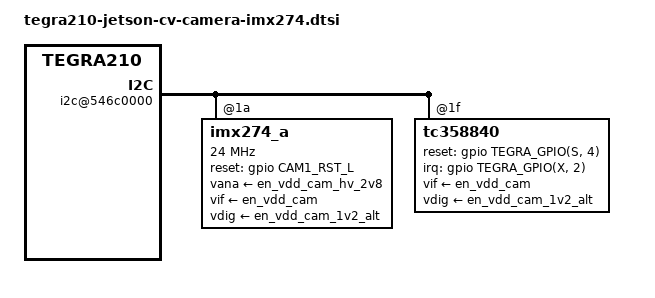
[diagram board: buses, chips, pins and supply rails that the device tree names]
/*
 * Copyright (c) 2015-2016, NVIDIA CORPORATION.  All rights reserved.
 *
 * This program is free software; you can redistribute it and/or modify
 * it under the terms of the GNU General Public License as published by
 * the Free Software Foundation; either version 2 of the License, or
 * (at your option) any later version.
 *
 * This program is distributed in the hope that it will be useful, but WITHOUT
 * ANY WARRANTY; without even the implied warranty of MERCHANTABILITY or
 * FITNESS FOR A PARTICULAR PURPOSE.  See the GNU General Public License for
 * more details.
 *
 * You should have received a copy of the GNU General Public License
 * along with this program.  If not, see <http://www.gnu.org/licenses/>.
 */

#include <tegra210-platforms/tegra210-camera-imx274.dtsi>

#define CAM1_RST_L	TEGRA_GPIO(S, 5)

/* camera control gpio definitions */

/ {
	host1x {
		i2c@546c0000 {
			imx274_a@1a {
				/* Define any required hw resources needed by driver */
				/* ie. clocks, io pins, power sources */
				/* mclk-index indicates the index of the */
				/* mclk-name with in the clock-names array */

				clocks = <&tegra_car TEGRA210_CLK_ID_CLK_OUT_3>;
				clock-names = "mclk";
				clock-frequency = <24000000>;

				mclk = "cam_mclk1";
				reset-gpios = <&gpio CAM1_RST_L GPIO_ACTIVE_HIGH>;
				vana-supply = <&en_vdd_cam_hv_2v8>;
				vif-supply = <&en_vdd_cam>;
				vdig-supply = <&en_vdd_cam_1v2_alt>;
			};
			tc358840@1f {
				single-source-max-width = "1920";

				mclk = "cam_mclk1";
				cam2_rst   = <&tca9539_77 8 GPIO_ACTIVE_HIGH>;
				vif-supply = <&en_vdd_cam>;
				vdig-supply = <&en_vdd_cam_1v2_alt>;

				reset-gpios = <&gpio TEGRA_GPIO(S, 4) GPIO_ACTIVE_HIGH>;
						interrupt-parent = <&gpio>;
				interrupts = <TEGRA_GPIO(X, 2) GPIO_ACTIVE_HIGH>;

				refclk_hz = <40000000>; /* 40 - 50 MHz */

				ddc5v_delay = <1>;        /* 50 ms */

				/* HDCP */
				/* TODO: Not yet implemented */
				enable_hdcp = <0>;

				/* CSI Output */
				csi_port = <3>;            /* Enable TX0 and TX1 */

				lineinitcnt = <0x00000FA0>;
				lptxtimecnt = <0x00000004>;
				tclk_headercnt = <0x00180203>;
				tclk_trailcnt = <0x00040005>;
				ths_headercnt = <0x000D0004>;
				twakeup = <0x00003E80>;
				tclk_postcnt = <0x0000000A>;
				ths_trailcnt = <0x00080006>;
				hstxvregcnt = <0x00000020>;

				/* PLL */
				/* Bps per lane is (refclk_hz / pll_prd) * pll_fbd */
				pll_prd = <10>;
				pll_fbd = <230>;
			};
		};
	};

	gpio: gpio@6000d000 {
		camera-control {
			gpio-input = <
				TEGRA_GPIO(X, 2)
				>;
			gpio-output-low = <
				CAM1_RST_L
				TEGRA_GPIO(S, 4)
				>;
		};
	};
};
